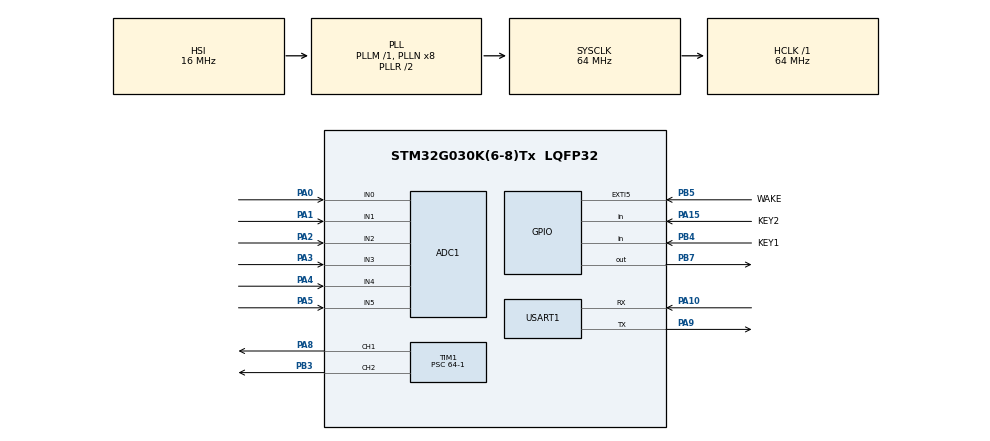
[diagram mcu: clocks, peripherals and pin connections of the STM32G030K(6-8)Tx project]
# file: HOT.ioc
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ADC1.Channel-0\#ChannelRegularConversion=ADC_CHANNEL_0
ADC1.Channel-1\#ChannelRegularConversion=ADC_CHANNEL_1
ADC1.Channel-2\#ChannelRegularConversion=ADC_CHANNEL_2
ADC1.Channel-3\#ChannelRegularConversion=ADC_CHANNEL_3
ADC1.Channel-4\#ChannelRegularConversion=ADC_CHANNEL_4
ADC1.Channel-5\#ChannelRegularConversion=ADC_CHANNEL_5
ADC1.Channel-6\#ChannelRegularConversion=ADC_CHANNEL_TEMPSENSOR
ADC1.Channel-7\#ChannelRegularConversion=ADC_CHANNEL_VREFINT
ADC1.ContinuousConvMode=ENABLE
ADC1.DMAContinuousRequests=ENABLE
ADC1.NbrOfConversion=8
ADC1.NbrOfConversionFlag=1
ADC1.Rank-0\#ChannelRegularConversion=1
ADC1.Rank-1\#ChannelRegularConversion=2
ADC1.Rank-2\#ChannelRegularConversion=3
ADC1.Rank-3\#ChannelRegularConversion=4
ADC1.Rank-4\#ChannelRegularConversion=5
ADC1.Rank-5\#ChannelRegularConversion=6
ADC1.Rank-6\#ChannelRegularConversion=7
ADC1.Rank-7\#ChannelRegularConversion=8
ADC1.SamplingTime-0\#ChannelRegularConversion=ADC_SAMPLINGTIME_COMMON_2
ADC1.SamplingTime-1\#ChannelRegularConversion=ADC_SAMPLINGTIME_COMMON_2
ADC1.SamplingTime-2\#ChannelRegularConversion=ADC_SAMPLINGTIME_COMMON_2
ADC1.SamplingTime-3\#ChannelRegularConversion=ADC_SAMPLINGTIME_COMMON_2
ADC1.SamplingTime-4\#ChannelRegularConversion=ADC_SAMPLINGTIME_COMMON_2
ADC1.SamplingTime-5\#ChannelRegularConversion=ADC_SAMPLINGTIME_COMMON_2
ADC1.SamplingTime-6\#ChannelRegularConversion=ADC_SAMPLINGTIME_COMMON_2
ADC1.SamplingTime-7\#ChannelRegularConversion=ADC_SAMPLINGTIME_COMMON_2
ADC1.SamplingTimeCommon1=ADC_SAMPLETIME_1CYCLE_5
ADC1.SamplingTimeCommon2=ADC_SAMPLETIME_79CYCLES_5
ADC1.SelectedChannel=ADC_CHANNEL_0|ADC_CHANNEL_1|ADC_CHANNEL_2|ADC_CHANNEL_3|ADC_CHANNEL_4|ADC_CHANNEL_5|ADC_CHANNEL_TEMPSENSOR|ADC_CHANNEL_VREFINT
ADC1.master=1
Dma.ADC1.0.Direction=DMA_PERIPH_TO_MEMORY
Dma.ADC1.0.EventEnable=DISABLE
Dma.ADC1.0.Instance=DMA1_Channel1
Dma.ADC1.0.MemDataAlignment=DMA_MDATAALIGN_HALFWORD
Dma.ADC1.0.MemInc=DMA_MINC_ENABLE
Dma.ADC1.0.Mode=DMA_CIRCULAR
Dma.ADC1.0.PeriphDataAlignment=DMA_PDATAALIGN_HALFWORD
Dma.ADC1.0.PeriphInc=DMA_PINC_DISABLE
Dma.ADC1.0.Polarity=HAL_DMAMUX_REQ_GEN_RISING
Dma.ADC1.0.Priority=DMA_PRIORITY_LOW
Dma.ADC1.0.RequestNumber=1
Dma.ADC1.0.SignalID=NONE
Dma.ADC1.0.SyncEnable=DISABLE
Dma.ADC1.0.SyncPolarity=HAL_DMAMUX_SYNC_NO_EVENT
Dma.ADC1.0.SyncRequestNumber=1
Dma.ADC1.0.SyncSignalID=NONE
Dma.Request0=ADC1
Mcu.Family=STM32G0
Mcu.Name=STM32G030K(6-8)Tx
Mcu.Package=LQFP32
NVIC.DMA1_Channel1_IRQn=true\:0\:0\:false\:false\:true\:false\:true\:true
NVIC.EXTI4_15_IRQn=true\:1\:0\:true\:false\:true\:true\:true\:true
NVIC.TIM1_CC_IRQn=true\:0\:0\:false\:false\:true\:true\:true\:true
NVIC.TIM3_IRQn=true\:0\:0\:false\:false\:true\:true\:true\:true
PA0.Mode=IN0
PA0.Signal=ADC1_IN0
PA1.Mode=IN1
PA1.Signal=ADC1_IN1
PA10.Mode=Asynchronous
PA10.Signal=USART1_RX
PA13.Mode=Serial_Wire
PA13.Signal=SYS_SWDIO
PA14-BOOT0.Mode=Serial_Wire
PA14-BOOT0.Signal=SYS_SWCLK
PA15.GPIO_Label=KEY2
PA15.GPIO_PuPd=GPIO_PULLUP
PA15.Signal=GPIO_Input
PA2.Mode=IN2
PA2.Signal=ADC1_IN2
PA3.Mode=IN3
PA3.Signal=ADC1_IN3
PA4.Mode=IN4
PA4.Signal=ADC1_IN4
PA5.Mode=IN5
PA5.Signal=ADC1_IN5
PA8.Signal=S_TIM1_CH1
PA9.Mode=Asynchronous
PA9.Signal=USART1_TX
PB3.Signal=S_TIM1_CH2
PB4.GPIO_Label=KEY1
PB4.GPIO_PuPd=GPIO_PULLUP
PB4.Signal=GPIO_Input
PB5.GPIO_Label=WAKE
PB5.GPIO_ModeDefaultEXTI=GPIO_MODE_IT_FALLING
PB5.GPIO_PuPd=GPIO_PULLUP
PB5.Signal=GPXTI5
PB7.GPIO_Speed=GPIO_SPEED_FREQ_VERY_HIGH
PB7.Signal=GPIO_Output
PC14-OSC32_IN\ (PC14).Mode=LSE-External-Oscillator
PC14-OSC32_IN\ (PC14).Signal=RCC_OSC32_IN
PC15-OSC32_OUT\ (PC15).Mode=LSE-External-Oscillator
PC15-OSC32_OUT\ (PC15).Signal=RCC_OSC32_OUT
ProjectManager.HeapSize=0x200
ProjectManager.StackSize=0x400
ProjectManager.TargetToolchain=MDK-ARM V5.32
RCC.ADCFreq_Value=64000000
RCC.AHBFreq_Value=64000000
RCC.CortexFreq_Value=64000000
RCC.EXTERNAL_CLOCK_VALUE=12288000
RCC.HCLKFreq_Value=64000000
RCC.HSE_VALUE=8000000
RCC.HSI_VALUE=16000000
RCC.SYSCLKFreq_VALUE=64000000
RCC.SYSCLKSource=RCC_SYSCLKSOURCE_PLLCLK
RCC.VCOOutputFreq_Value=128000000
SH.S_TIM1_CH1.0=TIM1_CH1,PWM Generation1 CH1
SH.S_TIM1_CH2.0=TIM1_CH2,PWM Generation2 CH2
TIM1.AutoReloadPreload=TIM_AUTORELOAD_PRELOAD_DISABLE
TIM1.Channel-PWM\ Generation1\ CH1=TIM_CHANNEL_1
TIM1.Channel-PWM\ Generation2\ CH2=TIM_CHANNEL_2
TIM1.Period=1000-1
TIM1.Prescaler=64-1
TIM1.Pulse-PWM\ Generation1\ CH1=100
TIM1.Pulse-PWM\ Generation2\ CH2=100
TIM3.AutoReloadPreload=TIM_AUTORELOAD_PRELOAD_ENABLE
TIM3.Period=999
TIM3.Prescaler=63
USART1.VirtualMode-Asynchronous=VM_ASYNC
VP_ADC1_TempSens_Input.Mode=IN-TempSens
VP_ADC1_Vref_Input.Mode=IN-Vrefint
VP_TIM1_VS_ClockSourceINT.Mode=Internal
VP_TIM3_VS_ClockSourceINT.Mode=Internal
board=custom

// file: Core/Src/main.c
/* USER CODE BEGIN Header */
/**
 ******************************************************************************
 * @file           : main.c
 * @brief          : Main program body
 ******************************************************************************
 * @attention
 *
 * Copyright (c) 2025 STMicroelectronics.
 * All rights reserved.
 *
 * This software is licensed under terms that can be found in the LICENSE file
 * in the root directory of this software component.
 * If no LICENSE file comes with this software, it is provided AS-IS.
 *
 ******************************************************************************
 */
/* USER CODE END Header */
#include "main.h"
#include "adc.h"
#include "dma.h"
#include "tim.h"
#include "usart.h"
#include "gpio.h"

/* USER CODE BEGIN Includes */
#include "OLED.h"
#include "math.h"
#include "stdlib.h"
#include "stdio.h"
#include "string.h"
/* USER CODE END Includes */

/* USER CODE BEGIN PV */
uint8_t wake_pressed = 0; // wake按键状态标志
// 定义光标可选位置的结构体
typedef struct
{
  uint8_t x;      // x坐标
  uint8_t y;      // y坐标
  uint8_t width;  // 区域宽度
  uint8_t height; // 区域高度
} CursorPos_t;

// 定义所有可选位置(根据实际显示位置调整)
const CursorPos_t cursor_positions[] = {
    {20, 24, 24, 8}, // HOT1位置 (4个字符 * 6像素宽度)
    {2, 35, 42, 8},  // HOT1 Target位置 ("Target:" + 2位数字)
    {2, 50, 42, 8},  // HOT1 Reality位置 ("Reality:" + 2位数字)
    {84, 24, 24, 8}, // HOT2位置 (4个字符 * 6像素宽度)
    {65, 35, 42, 8}, // HOT2 Target位置 ("Target:" + 2位数字)
    {65, 50, 42, 8}  // HOT2 Reality位置 ("Reality:" + 2位数字)
};

#define CURSOR_POS_NUM (sizeof(cursor_positions) / sizeof(cursor_positions[0]))
uint8_t current_cursor = 0; // 当前光标位置索引

uint8_t key1_pressed = 0;       // KEY1按键状态标志
uint8_t key2_pressed = 0;       // KEY2按键状态标志
uint32_t key1_press_time = 0;   // KEY1按下时间
uint32_t key2_press_time = 0;   // KEY2按下时间
static uint8_t key1_filter = 0; // KEY1按键滤波器
static uint8_t key2_filter = 0; // KEY2按键滤波器
static uint8_t wake_filter = 0; // WAKE按键滤波器
#define KEY_FILTER_TIME 10      // 按键滤波时间5ms

uint8_t menu_level = 0;  // 0:主菜单(HOT1/2选择) 1:子菜单(Target/Reality选择)
uint8_t current_hot = 0; // 0:HOT1子菜单 1:HOT2子菜单

// 添加定时计数变量
static uint16_t wake_long_press_cnt = 0; // WAKE按键长按计数器
#define LONG_PRESS_CNT 3000              // 长按时间计数阈值(5秒,定时器1ms中断)
uint8_t menu_switching = 0;              // 添加菜单切换标志，防止重复触发

// 添加参数编辑相关变量
uint8_t param_editing = 0; // 参数编辑状态标志
uint8_t blink_state = 0;   // 闪烁状态
uint16_t blink_cnt = 0;    // 闪烁计数器
#define BLINK_PERIOD 500   // 闪烁周期(ms)

// 添加温度参数变量
uint16_t hot1_target = 30; // HOT1目标温度
float hot1_reality = 0.0;  // HOT1实际温度
uint16_t hot2_target = 30; // HOT2目标温度
float hot2_reality = 0.0;  // HOT2实际温度

#define FLASH_TARGET_ADDR 0x0800F800                              // 使用倒数第二页存储参数(31页,距离末尾4KB)
#define MY_FLASH_PAGE_SIZE 0x800                                  // G030的页大小为2KB (改名避免冲突)
#define Target1_Temperture (*(uint32_t *)FLASH_TARGET_ADDR)       // HOT1目标温度存储地址
#define Target2_Temperture (*(uint32_t *)(FLASH_TARGET_ADDR + 4)) // HOT2目标温度存储地址

// ADC采样相关定义
#define ADC_CHANNEL_NUM 8            // 采样通道数
#define ADC_SAMPLE_NUM 10            // 每个通道采样次数
uint16_t adc_buf[ADC_CHANNEL_NUM];   // DMA缓存区
uint16_t adc_value[ADC_CHANNEL_NUM]; // 各通道平均值

// 添加滤波相关定义
#define N 10 // 滑动平均滤波点数
#define M 5  // 限幅平均滤波点数
#define A 50 // 限幅值

// 滤波缓存数组
static uint16_t value_buf[ADC_CHANNEL_NUM][N];    // 滑动平均滤波缓存
static uint16_t filter_data[ADC_CHANNEL_NUM][M];  // 限幅平均滤波缓存
static uint8_t filter_cnt[ADC_CHANNEL_NUM] = {0}; // 滤波计数器

// 添加ADC定时采样相关变量
static uint16_t adc_sample_cnt = 0; // ADC采样计数器
#define ADC_SAMPLE_PERIOD 30        // ADC采样周期(30ms)

float NTC1_R = 0.0f;
float NTC2_R = 0.0f;

// 在文件开头的变量声明部分添加OLED刷新计数器
static uint16_t oled_refresh_cnt = 0; // OLED刷新计数器
#define OLED_REFRESH_PERIOD 500       // OLED刷新周期(500ms)

// 串口输出
char message[50] = ""; // 用于存储输出信息的缓冲区
/*参考电压值*/
float Vref = 0.0f;    // 参考电压值
float Voltage = 0.0f; // 电压值
/*打印控制*/
static uint32_t print_tick = 0;
#define PRINT_PERIOD 1000 // 打印周期1000ms

/*PID定义*/
typedef struct
{
  float desired;           // 期望值
  float current;           // 实际值
  float error;             // 误差值
  float error_last;        // 上次误差值
  float error_last_last;   // 上上次误差值
  float incremental_value; // 增量值
  float Kp;                // 比例系数
  float Ki;                // 积分系数
  float Kd;                // 微分系数
  float out;               // 输出值
} PID_Object;

PID_Object PID_Ctrl1; // PID对象
PID_Object PID_Ctrl2; // PID对象

#define SOFT_START_PERIOD 600 // 软启动时间(ms)
#define SOFT_START_MAX 600    // 软启动最大值
uint16_t PWM1 = 0;
uint16_t PWM2 = 0;

/* USER CODE END PV */

void SystemClock_Config(void);

/* USER CODE BEGIN 0 */

void OLED_DrawInterface(void)
{
  uint8_t i;

  // 1. 清屏并初始化
  OLED_Clear();
  OLED_Update();

  // 2. 显示标题 "HOT" 在顶部中间
  OLED_ShowString(52, 0, "HOT", OLED_8X16);
  OLED_Update();

  // 3. 加粗的虚线分隔 (每2像素画一个点)
  for (i = 0; i < 128; i += 2)
  {
    for (uint8_t j = 0; j < 2; j++)
    {
      OLED_DrawPoint(i, 16 + j);
    }
  }
  OLED_Update();

  // 4. 加粗边框线和分隔线
  for (i = 16; i < 64; i++)
  {
    // 左边框加粗
    OLED_DrawPoint(0, i);
    OLED_DrawPoint(1, i);

    // 中间分隔线加粗
    OLED_DrawPoint(63, i);
    OLED_DrawPoint(64, i);

    // // 右边框加粗
    // OLED_DrawPoint(126, i);
    // OLED_DrawPoint(127, i);
  }
  OLED_Update();

  // 5. 左侧HOT1列 (稍微向右移动以避免边框)
  OLED_ShowString(20, 24, "HOT1", OLED_6X8);
  OLED_ShowString(2, 35, "Target:", OLED_6X8);
  OLED_ShowString(2, 50, "Reality:", OLED_6X8);
  OLED_ShowNum(50, 35, hot1_target, 2, OLED_6X8);
  OLED_ShowNum(50, 50, hot1_reality, 2, OLED_6X8);
  OLED_Update();

  // 6. 右侧HOT2列 (稍微向左移动以避免边框)
  OLED_ShowString(84, 24, "HOT2", OLED_6X8);
  OLED_ShowString(65, 35, "Target:", OLED_6X8);
  OLED_ShowString(65, 50, "Reality:", OLED_6X8);
  OLED_ShowNum(112, 35, hot2_target, 2, OLED_6X8);
  OLED_ShowNum(112, 50, hot2_reality, 2, OLED_6X8);
  OLED_Update();
}

/* 添加光标显示函数 */
void ShowCursor(uint8_t position_index)
{
  static uint8_t last_position = 0xFF; // 初始化为无效值

  // 如果有上一个位置，先恢复原来的显示
  if (last_position != 0xFF)
  {
    OLED_ReverseArea(cursor_positions[last_position].x,
                     cursor_positions[last_position].y,
                     cursor_positions[last_position].width,
                     cursor_positions[last_position].height);
  }

  // 显示新位置的光标
  OLED_ReverseArea(cursor_positions[position_index].x,
                   cursor_positions[position_index].y,
                   cursor_positions[position_index].width,
                   cursor_positions[position_index].height);

  last_position = position_index;
  OLED_Update();
}

// Flash写入函数
HAL_StatusTypeDef Flash_Write_Data(uint32_t Address, uint32_t *Data, uint16_t DataSize)
{
  HAL_StatusTypeDef status = HAL_OK;

  // 解锁Flash
  HAL_FLASH_Unlock();

  // 擦除倒数第二页
  FLASH_EraseInitTypeDef EraseInitStruct;
  uint32_t PageError;

  EraseInitStruct.TypeErase = FLASH_TYPEERASE_PAGES;
  EraseInitStruct.Page = 31; // G030使用倒数第二页(总共32页,0-31)
  EraseInitStruct.NbPages = 1;

  if (HAL_FLASHEx_Erase(&EraseInitStruct, &PageError) == HAL_OK)
  {
    // 写入数据
    for (uint16_t i = 0; i < DataSize; i++)
    {
      uint64_t data64 = ((uint64_t)Data[i] << 32) | 0x55AA55AA; // 添加校验标记
      if (HAL_FLASH_Program(FLASH_TYPEPROGRAM_DOUBLEWORD,
                            Address + (i * 8),
                            data64) != HAL_OK)
      {
        status = HAL_ERROR;
        break;
      }
    }
  }
  else
  {
    status = HAL_ERROR;
  }

  // 锁定Flash
  HAL_FLASH_Lock();

  return status;
}

/*计算出当前NTC热敏电阻的阻值*/
float ADC_GetResistance(uint32_t adc_value)
{
  return (adc_value / (4095.0f - adc_value)) * 10000.0f;
}

/*根据方程计算出当前的温度值*/
float Resistance2Temerature(uint16_t Rsistance)
{
  float B = 3950.0f;   // B值
  float R0 = 10000.0f; // 25度时的电阻值
  float T0 = 25.0f;
  return (1.0f / ((1.0f / B) * log(Rsistance / R0) + 1.0f / (T0 + 273.15f)) - 273.15f);
}

// 滑动平均滤波函数
uint16_t moveAverageFilter(uint8_t channel)
{
  static uint32_t sum[ADC_CHANNEL_NUM] = {0};
  static uint8_t cnt[ADC_CHANNEL_NUM] = {0};

  // 使用当前ADC值
  uint16_t current_value = adc_buf[channel];

  if (cnt[channel] < N) // 缓冲区未满
  {
    value_buf[channel][cnt[channel]] = current_value;
    sum[channel] += current_value;
    cnt[channel]++;

    // 初始阶段直接返回当前值，避免被0值影响
    return current_value;
    // 或者返回平均值：return sum[channel] / cnt[channel];
  }
  else // 缓冲区已满
  {
    sum[channel] -= value_buf[channel][0];
    // 移动数据
    for (uint8_t i = 0; i < N - 1; i++)
    {
      value_buf[channel][i] = value_buf[channel][i + 1];
    }
    value_buf[channel][N - 1] = current_value;
    sum[channel] += current_value;
    return sum[channel] / N;
  }
}

// 限幅平均滤波函数
uint16_t LAverageFilter(uint8_t channel)
{
  static uint8_t initialized = 0;
  uint16_t filtered = moveAverageFilter(channel);

  // 初始化阶段直接返回当前值
  if (!initialized)
  {
    for (uint8_t i = 0; i < M; i++)
    {
      filter_data[channel][i] = filtered;
    }
    filter_cnt[channel] = M;
    initialized = 1;
    return filtered;
  }

  if (filter_cnt[channel] > 0)
  {
    // 检查限幅 - 增大限幅值
    if (abs(filtered - filter_data[channel][filter_cnt[channel] - 1]) > 50) // 增大限幅值
    {
      return filter_data[channel][filter_cnt[channel] - 1];
    }
  }

  // 移动数据窗口
  if (filter_cnt[channel] < M)
  {
    filter_data[channel][filter_cnt[channel]] = filtered;
    filter_cnt[channel]++;
  }
  else
  {
    for (uint8_t i = 0; i < M - 1; i++)
    {
      filter_data[channel][i] = filter_data[channel][i + 1];
    }
    filter_data[channel][M - 1] = filtered;
  }

  // 计算平均值
  uint32_t sum = 0;
  for (uint8_t i = 0; i < M; i++)
  {
    sum += filter_data[channel][i];
  }
  return sum / M;
}

void PID_INIT(PID_Object *pid, float kp, float ki, float kd, float initial_out)
{
  pid->Kp = kp;
  pid->Ki = ki;
  pid->Kd = kd;

  pid->desired = 0.0f;
  pid->current = 0.0f;
  pid->error = pid->error_last = pid->error_last_last = 0.0f;

  pid->out = initial_out;
}

/*PID核心算法*/
float PID_calculate(PID_Object *pid, float desired, float current)
{
  pid->error = desired - current;

  pid->incremental_value = (pid->Kp * (pid->error - pid->error_last) + pid->Ki * pid->error + pid->Kd * (pid->error - 2 * pid->error_last + pid->error_last_last));
  pid->out += pid->incremental_value;

  pid->error_last = pid->error;
  pid->error_last_last = pid->error_last;

  if (pid->out >= 800)
  {
    pid->out = 800;
  } // 限制最大最小占空比
  if (pid->out <= 10)
  {
    pid->out = 10;
  }
  return pid->out;
}

/* USER CODE END 0 */

int main(void)
{

  /* MCU Configuration--------------------------------------------------------*/

  /* Reset of all peripherals, Initializes the Flash interface and the Systick. */
  HAL_Init();

  /* Configure the system clock */
  SystemClock_Config();

  /* Initialize all configured peripherals */
  MX_GPIO_Init();
  MX_DMA_Init();
  MX_ADC1_Init();
  MX_TIM1_Init();
  MX_TIM3_Init();
  MX_USART1_UART_Init();
  /* USER CODE BEGIN 2 */
  // 启动TIM3中断
  HAL_TIM_Base_Start_IT(&htim3);
  // 启动TIM1 PWM输出
  HAL_TIM_PWM_Start(&htim1, TIM_CHANNEL_1); // 启动TIM1通道1的PWM输出
  HAL_TIM_PWM_Start(&htim1, TIM_CHANNEL_2); // 启动TIM1通道2的PWM输出
  // 从Flash读取温度参数
  uint64_t temp1 = *(uint64_t *)FLASH_TARGET_ADDR;
  uint64_t temp2 = *(uint64_t *)(FLASH_TARGET_ADDR + 8);

  // 检查校验标记并读取数据
  if ((temp1 & 0xFFFFFFFF) == 0x55AA55AA)
  {
    hot1_target = (temp1 >> 32) & 0xFF;
  }

  if ((temp2 & 0xFFFFFFFF) == 0x55AA55AA)
  {
    hot2_target = (temp2 >> 32) & 0xFF;
  }
  // 初始化OLED
  OLED_Init();
  // 清屏
  OLED_Clear();
  OLED_DrawInterface();
  HAL_Delay(10); // 等待界面显示稳定
  ShowCursor(0); // 显示初始光标位置

  // 初始化滤波缓冲区
  for (uint8_t ch = 0; ch < ADC_CHANNEL_NUM; ch++)
  {
    for (uint8_t i = 0; i < N; i++)
    {
      value_buf[ch][i] = 0;
    }
    for (uint8_t i = 0; i < M; i++)
    {
      filter_data[ch][i] = 0;
    }
    filter_cnt[ch] = 0;
  }

  // 启动ADC和DMA采样
  HAL_ADCEx_Calibration_Start(&hadc1); // ADC校准
  HAL_ADC_Start_DMA(&hadc1, (uint32_t *)adc_buf, ADC_CHANNEL_NUM);

  PID_INIT(&PID_Ctrl1, 300.0f, 70.0f, 0.0f, 100.0f); // 第一个PID
  PID_INIT(&PID_Ctrl2, 250.0f, 50.0f, 0.0f, 100.0f); // 第二个PID

  // 软启动过程
   for (uint16_t i = 0; i < SOFT_START_MAX; i++)
   {
     PWM1 = i;
     PWM2 = i;
     __HAL_TIM_SetCompare(&htim1, TIM_CHANNEL_1, PWM1);
    __HAL_TIM_SetCompare(&htim1, TIM_CHANNEL_2, PWM2);
     HAL_Delay(1);
	 }
  /* USER CODE END 2 */

  /* Infinite loop */
  while (1)
  {

  }
}

void SystemClock_Config(void)
{
  RCC_OscInitTypeDef RCC_OscInitStruct = {0};
  RCC_ClkInitTypeDef RCC_ClkInitStruct = {0};

  /** Configure the main internal regulator output voltage
   */
  HAL_PWREx_ControlVoltageScaling(PWR_REGULATOR_VOLTAGE_SCALE1);

  /** Initializes the RCC Oscillators according to the specified parameters
   * in the RCC_OscInitTypeDef structure.
   */
  RCC_OscInitStruct.OscillatorType = RCC_OSCILLATORTYPE_HSI;
  RCC_OscInitStruct.HSIState = RCC_HSI_ON;
  RCC_OscInitStruct.HSIDiv = RCC_HSI_DIV1;
  RCC_OscInitStruct.HSICalibrationValue = RCC_HSICALIBRATION_DEFAULT;
  RCC_OscInitStruct.PLL.PLLState = RCC_PLL_ON;
  RCC_OscInitStruct.PLL.PLLSource = RCC_PLLSOURCE_HSI;
  RCC_OscInitStruct.PLL.PLLM = RCC_PLLM_DIV1;
  RCC_OscInitStruct.PLL.PLLN = 8;
  RCC_OscInitStruct.PLL.PLLP = RCC_PLLP_DIV2;
  RCC_OscInitStruct.PLL.PLLR = RCC_PLLR_DIV2;
  if (HAL_RCC_OscConfig(&RCC_OscInitStruct) != HAL_OK)
  {
    Error_Handler();
  }

  /** Initializes the CPU, AHB and APB buses clocks
   */
  RCC_ClkInitStruct.ClockType = RCC_CLOCKTYPE_HCLK | RCC_CLOCKTYPE_SYSCLK | RCC_CLOCKTYPE_PCLK1;
  RCC_ClkInitStruct.SYSCLKSource = RCC_SYSCLKSOURCE_PLLCLK;
  RCC_ClkInitStruct.AHBCLKDivider = RCC_SYSCLK_DIV1;
  RCC_ClkInitStruct.APB1CLKDivider = RCC_HCLK_DIV1;

  if (HAL_RCC_ClockConfig(&RCC_ClkInitStruct, FLASH_LATENCY_2) != HAL_OK)
  {
    Error_Handler();
  }
}

/* USER CODE BEGIN 4 */
void HAL_TIM_PeriodElapsedCallback(TIM_HandleTypeDef *htim)
{
  if (htim->Instance == TIM3)
  {
    // WAKE按键处理
    if (HAL_GPIO_ReadPin(WAKE_GPIO_Port, WAKE_Pin) == GPIO_PIN_RESET)
    {
      wake_filter++;
      if (wake_filter >= KEY_FILTER_TIME && !wake_pressed)
      {
        wake_pressed = 1;
        wake_long_press_cnt = 0;

        // 判断是否在参数编辑模式
        if (param_editing)
        {
          // 退出参数编辑模式
          param_editing = 0;

          // 准备保存的数据
          uint32_t flash_data[2];
          flash_data[0] = hot1_target;
          flash_data[1] = hot2_target;

          // 保存到Flash
          if (Flash_Write_Data(FLASH_TARGET_ADDR, flash_data, 2) != HAL_OK)
          {
            Error_Handler(); // Flash写入错误处理
          }

          // 更新显示
          if (current_hot == 0)
          {
            OLED_ShowNum(50, 35, hot1_target, 2, OLED_6X8);
          }
          else
          {
            OLED_ShowNum(112, 35, hot2_target, 2, OLED_6X8);
          }
          OLED_Update();
        }
        // 不在参数编辑模式时的菜单切换
        else if (menu_level == 0 && !menu_switching)
        {
          // 从主菜单进入子菜单
          menu_level = 1;
          current_hot = (current_cursor == 0) ? 0 : 1;
          current_cursor = (current_hot == 0) ? 1 : 4;
          ShowCursor(current_cursor);
        }
        else if (menu_level == 1 && !menu_switching && !param_editing)
        {
          // 在子菜单中且不在编辑状态时，处理Target编辑
          if (current_cursor == 1 || current_cursor == 4) // Target位置
          {
            param_editing = 1;
            blink_state = 1;
            blink_cnt = 0;
          }
        }
      }

      // 按键持续按下时的长按处理
      if (wake_pressed)
      {
        wake_long_press_cnt++;
        if (wake_long_press_cnt >= LONG_PRESS_CNT) // 达到长按时间阈值(5秒)
        {
          if (menu_level == 1 && !menu_switching) // 在子菜单中
          {
            // 返回主菜单
            menu_level = 0;
            current_cursor = current_hot ? 3 : 0;
            ShowCursor(current_cursor);
            menu_switching = 1;
            param_editing = 0;
          }
          wake_long_press_cnt = LONG_PRESS_CNT; // 防止计数器溢出
        }
      }
    }
    else
    {
      wake_pressed = 0;
      wake_filter = 0;
      wake_long_press_cnt = 0;
      menu_switching = 0;
    }

    // LED闪烁处理
    static uint16_t led_cnt = 0;
    led_cnt++;
    if (led_cnt >= 500) // 500ms翻转一次
    {
      led_cnt = 0;
      HAL_GPIO_TogglePin(GPIOB, GPIO_PIN_7);
    }

    // 参数编辑模式下的闪烁处理
    if (param_editing)
    {
      blink_cnt++;
      if (blink_cnt >= BLINK_PERIOD)
      {
        blink_cnt = 0;
        blink_state = !blink_state;

        // 更新显示
        if (current_hot == 0)
        {
          if (blink_state)
            OLED_ShowNum(50, 35, hot1_target, 2, OLED_6X8);
          else
            OLED_ShowString(50, 35, "  ", OLED_6X8);
        }
        else
        {
          if (blink_state)
            OLED_ShowNum(112, 35, hot2_target, 2, OLED_6X8);
          else
            OLED_ShowString(112, 35, "  ", OLED_6X8);
        }
        OLED_Update();
      }
    }

    // KEY1按键处理(上移/循环)
    if (HAL_GPIO_ReadPin(KEY1_GPIO_Port, KEY1_Pin) == GPIO_PIN_RESET)
    {
      key1_filter++;
      if (key1_filter >= KEY_FILTER_TIME && !key1_pressed)
      {
        key1_pressed = 1;
        if (param_editing)
        {
          // 参数编辑模式下增加温度值
          if (current_hot == 0)
          {
            if (hot1_target < 99)
              hot1_target++;
            OLED_ShowNum(50, 35, hot1_target, 2, OLED_6X8);
          }
          else
          {
            if (hot2_target < 99)
              hot2_target++;
            OLED_ShowNum(112, 35, hot2_target, 2, OLED_6X8);
          }
          OLED_Update();
          blink_state = 1;
          blink_cnt = 0;
        }
        else if (menu_level == 0)
        {
          // 主菜单中HOT1和HOT2循环切换
          current_cursor = (current_cursor == 0) ? 3 : 0; // 在0和3之间循环
          ShowCursor(current_cursor);
        }
        else
        {
          // 子菜单中在Target和Reality之间循环切换
          if (current_hot == 0) // HOT1子菜单
          {
            current_cursor = (current_cursor == 1) ? 2 : 1; // 在1和2之间循环
          }
          else // HOT2子菜单
          {
            current_cursor = (current_cursor == 4) ? 5 : 4; // 在4和5之间循环
          }
          ShowCursor(current_cursor);
        }
      }
    }
    else
    {
      key1_pressed = 0;
      key1_filter = 0;
    }

    // KEY2按键处理(下移/循环)
    if (HAL_GPIO_ReadPin(KEY2_GPIO_Port, KEY2_Pin) == GPIO_PIN_RESET)
    {
      key2_filter++;
      if (key2_filter >= KEY_FILTER_TIME && !key2_pressed)
      {
        key2_pressed = 1;
        if (param_editing)
        {
          // 参数编辑模式下减少温度值
          if (current_hot == 0)
          {
            if (hot1_target > 0)
              hot1_target--;
            OLED_ShowNum(50, 35, hot1_target, 2, OLED_6X8);
          }
          else
          {
            if (hot2_target > 0)
              hot2_target--;
            OLED_ShowNum(112, 35, hot2_target, 2, OLED_6X8);
          }
          OLED_Update();
          blink_state = 1;
          blink_cnt = 0;
        }
        else if (menu_level == 0)
        {
          // 主菜单中HOT1和HOT2循环切换
          current_cursor = (current_cursor == 0) ? 3 : 0; // 在0和3之间循环
          ShowCursor(current_cursor);
        }
        else
        {
          // 子菜单中在Target和Reality之间循环切换
          if (current_hot == 0) // HOT1子菜单
          {
            current_cursor = (current_cursor == 1) ? 2 : 1; // 在1和2之间循环
          }
          else // HOT2子菜单
          {
            current_cursor = (current_cursor == 4) ? 5 : 4; // 在4和5之间循环
          }
          ShowCursor(current_cursor);
        }
      }
    }
    else
    {
      key2_pressed = 0;
      key2_filter = 0;
    }

    adc_sample_cnt++;
    if (adc_sample_cnt >= ADC_SAMPLE_PERIOD)
    {
      adc_sample_cnt = 0;

      // 保存并打印原始ADC值
      for (uint8_t i = 0; i < ADC_CHANNEL_NUM; i++)
      {
        adc_value[i] = adc_buf[i];
      }

      // 打印滤波后的值
      uint16_t filtered_adc4 = LAverageFilter(4);
      uint16_t filtered_adc5 = LAverageFilter(5);

      // 打印计算的电阻值
      NTC1_R = ADC_GetResistance(filtered_adc4);
      NTC2_R = ADC_GetResistance(filtered_adc5);

      // 计算温度值
      hot1_reality = Resistance2Temerature(NTC1_R);
      hot2_reality = Resistance2Temerature(NTC2_R);

      // // 更新PID控制
       PWM1 = (uint16_t)PID_calculate(&PID_Ctrl1, hot1_target, hot1_reality);
//       PWM2 = (uint16_t)PID_calculate(&PID_Ctrl2, hot2_target, hot2_reality);

      // // 更新PWM输出
       __HAL_TIM_SetCompare(&htim1, TIM_CHANNEL_1, PWM1);
//       __HAL_TIM_SetCompare(&htim1, TIM_CHANNEL_2, PWM2);
    }
    // OLED刷新控制
    oled_refresh_cnt++;
    if (oled_refresh_cnt >= OLED_REFRESH_PERIOD)
    {
      oled_refresh_cnt = 0;

      // 更新OLED显示的实际温度值
      if (!param_editing) // 如果不在参数编辑模式下
      {
        // 更新HOT1的实际温度显示
        OLED_ShowNum(50, 50, hot1_reality, 2, OLED_6X8);
        // 更新HOT2的实际温度显示
        OLED_ShowNum(112, 50, hot2_reality, 2, OLED_6X8);
        // 更新显示到OLED屏幕
        OLED_Update();
      }
    }
    // 串口打印控制
    print_tick++;
    if (print_tick >= 33) // 约1秒打印一次
    {
      print_tick = 0; // 重置打印计数器
      sprintf(message, "Temperature1: %.2f,%d,%.2f,%d\r\n", hot1_reality, hot1_target, hot2_reality, hot2_target);
      HAL_UART_Transmit(&huart1, (uint8_t *)message, strlen(message), HAL_MAX_DELAY); // 发送数据到串口
      // sprintf(message, "Reality Temperature2: %.2f\r\n", hot2_reality);
      // HAL_UART_Transmit(&huart1, (uint8_t *)message, strlen(message), HAL_MAX_DELAY); // 发送数据到串口
      // sprintf(message, "Target Temperature1: %d\r\n", hot1_target);
      // HAL_UART_Transmit(&huart1, (uint8_t *)message, strlen(message), HAL_MAX_DELAY);
      // sprintf(message, "Target Temperature2: %d\r\n", hot2_target);
      // HAL_UART_Transmit(&huart1, (uint8_t *)message, strlen(message), HAL_MAX_DELAY); // 发送数据到串口
    }
  }
}

// // DMA完成回调函数中处理ADC数据
// void HAL_ADC_ConvCpltCallback(ADC_HandleTypeDef *hadc)
// {
//   if (hadc->Instance == ADC1)
//   {
//     sprintf(message, "ADC1 DMA complete: %d %d %d %d %d %d %d %d\r\n",
//             adc_buf[0], adc_buf[1], adc_buf[2], adc_buf[3], adc_buf[4], adc_buf[5], adc_buf[6], adc_buf[7]);
//     HAL_UART_Transmit(&huart1, (uint8_t *)message, strlen(message), HAL_MAX_DELAY); // 发送数据到串口
//   }
// }
/*启动了DMA连续模式就不用使用中断回调了*/

/* USER CODE END 4 */

void Error_Handler(void)
{
  __disable_irq();
  while (1)
  {
  }
}
